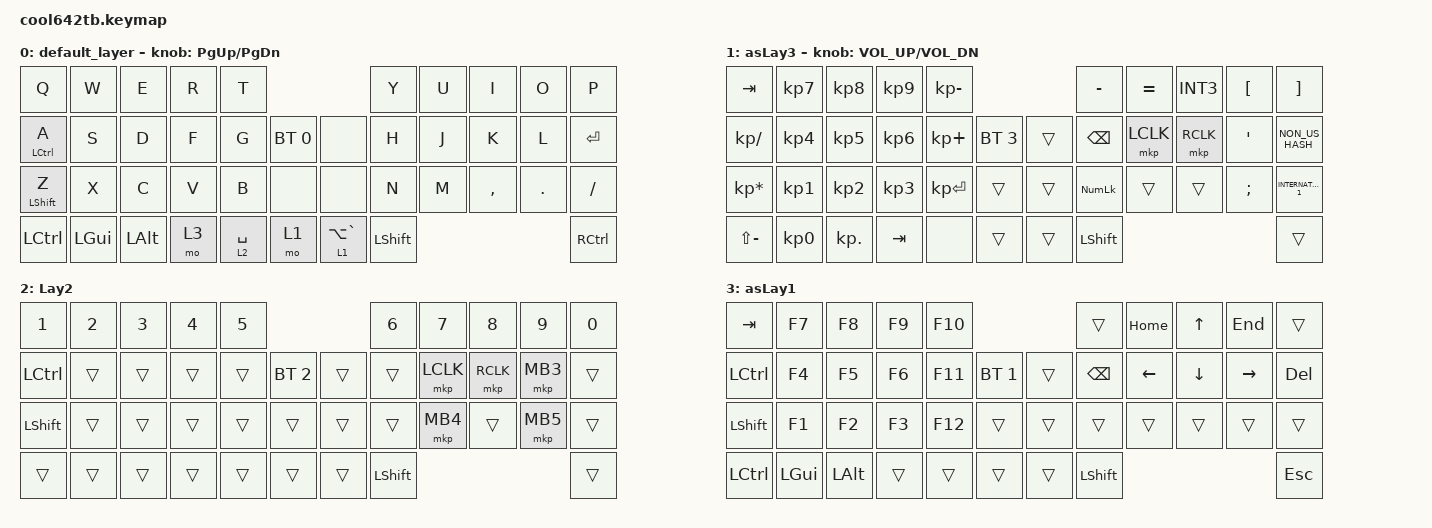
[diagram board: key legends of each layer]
#include <behaviors.dtsi>
#include <dt-bindings/zmk/bt.h>
#include <dt-bindings/zmk/keys.h>
#include <dt-bindings/zmk/pointing.h>

#define MOUSE 4
#define SCROLL 5
#define NUM 6

&mt {
    flavor = "balanced";
    quick-tap-ms = <0>;
};

/ {
    combos {
        compatible = "zmk,combos";

        comb1 {
            bindings = <&kp TAB>;
            key-positions = <11 10>;
        };

        comb2 {
            bindings = <&kp LS(ESCAPE)>;
            key-positions = <0 1>;
        };

        comb3 {
            bindings = <&kp CAPSLOCK>;
            key-positions = <22 23>;
        };

        comb4 {
            bindings = <&kp BACKSPACE>;
            key-positions = <9 8>;
        };

        comb5 {
            bindings = <&bt BT_CLR_ALL>;
            key-positions = <9 8>;
            timeout-ms = <0>;
        };
    };

    macros {
        to_layer_0: to_layer_0 {
            compatible = "zmk,behavior-macro-one-param";
            #binding-cells = <1>;
            bindings = <&to 0 &macro_param_1to1 &kp MACRO_PLACEHOLDER>;
            label = "TO_LAYER_0";
        };
    };

    behaviors {
        lt_to_layer_0: lt_to_layer_0 {
            compatible = "zmk,behavior-hold-tap";
            label = "LAYER_TAP_TO_0";
            bindings = <&mo>, <&to_layer_0>;

            #binding-cells = <2>;
            tapping-term-ms = <200>;
        };
    };

    keymap {
        compatible = "zmk,keymap";

        default_layer {
            bindings = <
&kp Q             &kp W         &kp E         &kp R  &kp T                                       &kp Y           &kp U  &kp I      &kp O       &kp P
&mt LCTRL A       &kp S         &kp D         &kp F  &kp G        &bt BT_SEL 0  &none            &kp H           &kp J  &kp K      &kp L       &kp ENTER
&mt LEFT_SHIFT Z  &kp X         &kp C         &kp V  &kp B        &none         &none            &kp N           &kp M  &kp COMMA  &kp PERIOD  &kp SLASH
&kp LEFT_CONTROL  &kp LEFT_GUI  &kp LEFT_ALT  &mo 3  &lt 2 SPACE  &mo 1         &lt 1 LA(GRAVE)  &kp LEFT_SHIFT                                &kp RCTRL
            >;

            sensor-bindings = <&inc_dec_kp PAGE_UP PAGE_DOWN>;
        };

        asLay3 {
            bindings = <
&kp TAB          &kp KP_NUMBER_7  &kp KP_NUMBER_8  &kp KP_NUMBER_9  &kp KP_MINUS                        &kp MINUS       &kp EQUAL  &kp INT3   &kp LEFT_BRACKET  &kp RIGHT_BRACKET
&kp KP_DIVIDE    &kp KP_NUMBER_4  &kp KP_NUMBER_5  &kp KP_NUMBER_6  &kp KP_PLUS   &bt BT_SEL 3  &trans  &kp BACKSPACE   &mkp LCLK  &mkp RCLK  &kp SQT           &kp NON_US_HASH
&kp KP_ASTERISK  &kp KP_NUMBER_1  &kp KP_NUMBER_2  &kp KP_NUMBER_3  &kp KP_ENTER  &trans        &trans  &kp KP_NUMLOCK  &trans     &trans     &kp SEMICOLON     &kp INTERNATIONAL_1
&kp LS(MINUS)    &kp KP_NUMBER_0  &kp KP_DOT       &kp TAB          &none         &trans        &trans  &kp LEFT_SHIFT                                          &trans
            >;

            sensor-bindings = <&inc_dec_kp C_VOLUME_UP C_VOL_DN>;
        };

        Lay2 {
            bindings = <
&kp N1          &kp N2  &kp N3  &kp N4  &kp N5                        &kp N6          &kp N7     &kp N8     &kp N9    &kp N0
&kp LCTRL       &trans  &trans  &trans  &trans  &bt BT_SEL 2  &trans  &trans          &mkp LCLK  &mkp RCLK  &mkp MB3  &trans
&kp LEFT_SHIFT  &trans  &trans  &trans  &trans  &trans        &trans  &trans          &mkp MB4   &trans     &mkp MB5  &trans
&trans          &trans  &trans  &trans  &trans  &trans        &trans  &kp LEFT_SHIFT                                  &trans
            >;
        };

        asLay1 {
            bindings = <
&kp TAB         &kp F7    &kp F8    &kp F9  &kp F10                        &trans     &kp HOME  &kp UP    &kp END    &trans
&kp LCTRL       &kp F4    &kp F5    &kp F6  &kp F11  &bt BT_SEL 1  &trans  &kp BSPC   &kp LEFT  &kp DOWN  &kp RIGHT  &kp DELETE
&kp LEFT_SHIFT  &kp F1    &kp F2    &kp F3  &kp F12  &trans        &trans  &trans     &trans    &trans    &trans     &trans
&kp LCTRL       &kp LGUI  &kp LALT  &trans  &trans   &trans        &trans  &kp LSHFT                                 &kp ESC
            >;
        };
    };
};
